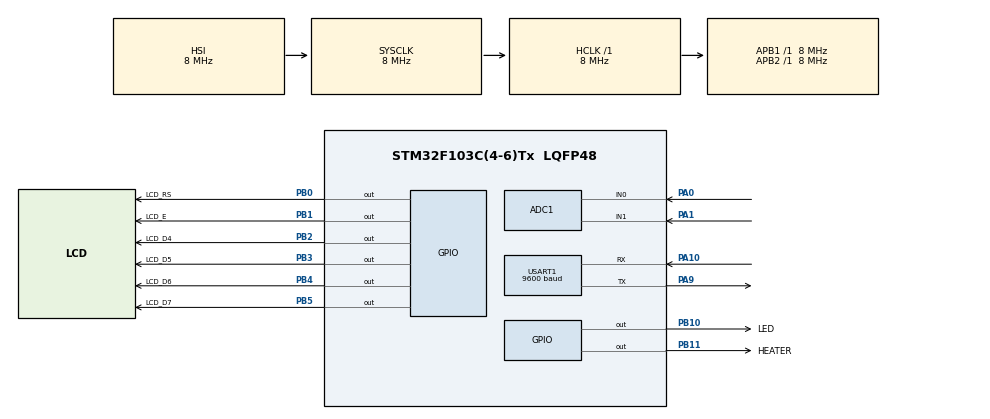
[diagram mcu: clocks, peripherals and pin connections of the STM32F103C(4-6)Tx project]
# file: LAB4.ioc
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ADC1.Channel-0\#ChannelRegularConversion=ADC_CHANNEL_1
ADC1.Channel-1\#ChannelRegularConversion=ADC_CHANNEL_0
ADC1.ContinuousConvMode=DISABLE
ADC1.NbrOfConversion=2
ADC1.NbrOfConversionFlag=1
ADC1.Rank-0\#ChannelRegularConversion=1
ADC1.Rank-1\#ChannelRegularConversion=2
ADC1.SamplingTime-0\#ChannelRegularConversion=ADC_SAMPLETIME_1CYCLE_5
ADC1.SamplingTime-1\#ChannelRegularConversion=ADC_SAMPLETIME_1CYCLE_5
ADC1.master=1
Dma.ADC1.0.Direction=DMA_PERIPH_TO_MEMORY
Dma.ADC1.0.Instance=DMA1_Channel1
Dma.ADC1.0.MemDataAlignment=DMA_MDATAALIGN_WORD
Dma.ADC1.0.MemInc=DMA_MINC_ENABLE
Dma.ADC1.0.Mode=DMA_NORMAL
Dma.ADC1.0.PeriphDataAlignment=DMA_PDATAALIGN_HALFWORD
Dma.ADC1.0.PeriphInc=DMA_PINC_DISABLE
Dma.ADC1.0.Priority=DMA_PRIORITY_LOW
Dma.Request0=ADC1
Mcu.Family=STM32F1
Mcu.Name=STM32F103C(4-6)Tx
Mcu.Package=LQFP48
NVIC.ADC1_2_IRQn=true\:1\:0\:true\:false\:true\:true\:true
NVIC.DMA1_Channel1_IRQn=true\:1\:0\:true\:false\:true\:false\:true
NVIC.PriorityGroup=NVIC_PRIORITYGROUP_4
NVIC.USART1_IRQn=true\:1\:0\:true\:false\:true\:true\:true
PA0-WKUP.Signal=ADCx_IN0
PA1.Signal=ADCx_IN1
PA10.Mode=Asynchronous
PA10.Signal=USART1_RX
PA9.Mode=Asynchronous
PA9.Signal=USART1_TX
PB0.GPIO_Label=LCD_RS
PB0.Signal=GPIO_Output
PB1.GPIO_Label=LCD_E
PB1.Signal=GPIO_Output
PB10.GPIO_Label=LED
PB10.Signal=GPIO_Output
PB11.GPIO_Label=HEATER
PB11.Signal=GPIO_Output
PB2.GPIO_Label=LCD_D4
PB2.Signal=GPIO_Output
PB3.GPIO_Label=LCD_D5
PB3.Signal=GPIO_Output
PB4.GPIO_Label=LCD_D6
PB4.Signal=GPIO_Output
PB5.GPIO_Label=LCD_D7
PB5.Signal=GPIO_Output
PD0-OSC_IN.Mode=HSE-External-Oscillator
PD0-OSC_IN.Signal=RCC_OSC_IN
PD1-OSC_OUT.Mode=HSE-External-Oscillator
PD1-OSC_OUT.Signal=RCC_OSC_OUT
ProjectManager.HeapSize=0x200
ProjectManager.StackSize=0x400
ProjectManager.TargetToolchain=MDK-ARM V5.27
RCC.AHBFreq_Value=8000000
RCC.APB1Freq_Value=8000000
RCC.APB1TimFreq_Value=8000000
RCC.APB2Freq_Value=8000000
RCC.APB2TimFreq_Value=8000000
RCC.HCLKFreq_Value=8000000
RCC.SYSCLKFreq_VALUE=8000000
RCC.USBFreq_Value=8000000
SH.ADCx_IN0.0=ADC1_IN0,IN0
SH.ADCx_IN1.0=ADC1_IN1,IN1
USART1.BaudRate=9600
USART1.VirtualMode=VM_ASYNC
VP_SYS_VS_ND.Mode=No_Debug
board=custom

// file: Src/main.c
/* USER CODE BEGIN Header */
/**
  ******************************************************************************
  * @file           : main.c
  * @brief          : Main program body
  ******************************************************************************
  * @attention
  *
  * <h2><center>&copy; Copyright (c) 2020 STMicroelectronics.
  * All rights reserved.</center></h2>
  *
  * This software component is licensed by ST under BSD 3-Clause license,
  * the "License"; You may not use this file except in compliance with the
  * License. You may obtain a copy of the License at:
  *                        opensource.org/licenses/BSD-3-Clause
  *
  ******************************************************************************
  */
/* USER CODE END Header */

#include "main.h"
#include "adc.h"
#include "dma.h"
#include "usart.h"
#include "gpio.h"

/* USER CODE BEGIN Includes */
#include "lm016.h"
#include <stdio.h>
#include <string.h>
/* USER CODE END Includes */

/* USER CODE BEGIN PV */
uint32_t adc_data[2]; //buffer for adc using DMA.
int temperature;
int resistance; //LDR Resistance.
char lcd_buffer[3];
unsigned char myRxData[20]; //buffer used for UART transmission.
char command[20]; //received command from UArt.
int index_string = 0;
void Compare_Strigns(char* command); //To Compare command received from user and known commands for system.
unsigned char* message[5][2] = {{"Manual\r","Auto\r"},{"Off\r","On\r"},{"Mode Set to Auto\r","Mode Set to Manual\r"} , {"Heater Turned Off\r","Heater Turned On\r"} , {"Lamp Turned Off\r","Lamp Turned On\r"}  } ;
int Mode = 1;  //0 for manual , 1 for auto
int status_heater = 0; // 0 for off 1 for on
int status_lamp = 0; // 0 for off 1 for on
#define LDR_Curve_Sample_size 10
int res_vs_illumination[LDR_Curve_Sample_size][2]=
{{500,900},{1000,800},{2000,700},{5000,600},{10000,500},
{20000,400},{50000,300},{100000,200},{200000,100},{1000000,0}};
float Lux=0;
int R2 = 1000;

/* USER CODE END PV */

void SystemClock_Config(void);

int main(void)
{

  /* MCU Configuration--------------------------------------------------------*/

  /* Reset of all peripherals, Initializes the Flash interface and the Systick. */
  HAL_Init();

  /* Configure the system clock */
  SystemClock_Config();

  /* Initialize all configured peripherals */
  MX_GPIO_Init();
  MX_DMA_Init();
  MX_ADC1_Init();
  MX_USART1_UART_Init();
  /* USER CODE BEGIN 2 */
	LCD_Init();
	LCD_Clear();
	LCD_PutString("T = ");
	LCD_SetCursor(1,9);
	LCD_PutString("DEG");
	LCD_SetCursor(2,1);
	LCD_PutString("I = ");
	LCD_SetCursor(2,9);
	LCD_PutString("LUX");
	HAL_UART_Receive_IT(&huart1, myRxData, 1); //start receiving one characater because commands are not the same length.
  /* USER CODE END 2 */

  /* Infinite loop */
  /* USER CODE BEGIN WHILE */
  while (1)
  {
		HAL_ADC_Start_DMA(&hadc1,adc_data,2); //Start ADC in DMA mode to convert two channels and give interupt when conversions are completed.
		HAL_Delay(100);
    /* USER CODE END WHILE */

  }
}

void SystemClock_Config(void)
{
  RCC_OscInitTypeDef RCC_OscInitStruct = {0};
  RCC_ClkInitTypeDef RCC_ClkInitStruct = {0};
  RCC_PeriphCLKInitTypeDef PeriphClkInit = {0};

  /** Initializes the CPU, AHB and APB busses clocks
  */
  RCC_OscInitStruct.OscillatorType = RCC_OSCILLATORTYPE_HSI;
  RCC_OscInitStruct.HSIState = RCC_HSI_ON;
  RCC_OscInitStruct.HSICalibrationValue = RCC_HSICALIBRATION_DEFAULT;
  RCC_OscInitStruct.PLL.PLLState = RCC_PLL_NONE;
  if (HAL_RCC_OscConfig(&RCC_OscInitStruct) != HAL_OK)
  {
    Error_Handler();
  }
  /** Initializes the CPU, AHB and APB busses clocks
  */
  RCC_ClkInitStruct.ClockType = RCC_CLOCKTYPE_HCLK|RCC_CLOCKTYPE_SYSCLK
                              |RCC_CLOCKTYPE_PCLK1|RCC_CLOCKTYPE_PCLK2;
  RCC_ClkInitStruct.SYSCLKSource = RCC_SYSCLKSOURCE_HSI;
  RCC_ClkInitStruct.AHBCLKDivider = RCC_SYSCLK_DIV1;
  RCC_ClkInitStruct.APB1CLKDivider = RCC_HCLK_DIV1;
  RCC_ClkInitStruct.APB2CLKDivider = RCC_HCLK_DIV1;

  if (HAL_RCC_ClockConfig(&RCC_ClkInitStruct, FLASH_LATENCY_0) != HAL_OK)
  {
    Error_Handler();
  }
  PeriphClkInit.PeriphClockSelection = RCC_PERIPHCLK_ADC;
  PeriphClkInit.AdcClockSelection = RCC_ADCPCLK2_DIV2;
  if (HAL_RCCEx_PeriphCLKConfig(&PeriphClkInit) != HAL_OK)
  {
    Error_Handler();
  }
}

/* USER CODE BEGIN 4 */
void HAL_ADC_ConvCpltCallback(ADC_HandleTypeDef* hadc)
{

	temperature = adc_data[0] * 3300 / 4095 / 10; //because of characteristics of LM35 sensor, for having temperature, we have to divide calculated voltage by 10.
	LCD_SetCursor(1,5);
	sprintf(lcd_buffer,"%03d",temperature);
	LCD_PutString(lcd_buffer);

	//CALCULATE LUX AND SHOW ON LCD.
	resistance = R2 / ((float) adc_data[1]/4095) - R2;
	int location = 0 ;
	for(int i=0;i<10;i++)
	{
		if(abs(res_vs_illumination[i][0]-resistance< abs(res_vs_illumination[location][0]-resistance))) //compare calculated resistance with ideal ones and find minimum error from ideal and find its Lux according to Table.
		{
			location = i;

		}
	}
	Lux=res_vs_illumination[location][1];//Select Lux according the resistor calculated.
	LCD_SetCursor(2,5);
	sprintf(lcd_buffer,"%03d",(int)Lux);
	LCD_PutString(lcd_buffer);
	//CHECK for commands
	if(Mode ==  1) //Auto Mode
	{
		if(temperature<20)
		{
			status_heater=1; //heater on.
			HAL_GPIO_WritePin(HEATER_GPIO_Port,HEATER_Pin,GPIO_PIN_SET);
		}
		if(temperature>24)
		{
			status_heater=0; //heater off.
			HAL_GPIO_WritePin(HEATER_GPIO_Port,HEATER_Pin,GPIO_PIN_RESET);
		}

		if(Lux<400)
		{
			HAL_GPIO_WritePin(LED_GPIO_Port,LED_Pin,GPIO_PIN_SET); //lamp on.
			status_lamp=1;
		}
		if(Lux>500)
		{
			HAL_GPIO_WritePin(LED_GPIO_Port,LED_Pin,GPIO_PIN_RESET); //lamp off.
			status_lamp=0;
		}

	}

}

void HAL_UART_RxCpltCallback(UART_HandleTypeDef *huart)
{
	//We will write the command in our buffer until we reach end symbole(Enter character).
	if(myRxData[0]!=13 ) //if received char is not Enter.
	{
		command[index_string]= myRxData[0]; //saving received character to command buffer.
		index_string++;
	}
	else{
		//this will help us to use string's functions
		command[index_string] = '\0';
		index_string=0;
		Compare_Strigns(command); //now we can compare received data and commands of system.
	}
	HAL_UART_Receive_IT(&huart1, myRxData, 1);

}

void Compare_Strigns(char* command)
{
	if(strcmp("AT_GetMode" , command) ==  0)
	{
		if(Mode == 0) //manual mode.
			HAL_UART_Transmit_IT(&huart1,message[0][0],7);
		else
			HAL_UART_Transmit_IT(&huart1,message[0][1],5);
	}

	else if(strcmp("AT_GetStats_Heater" , command) ==  0)
	{
		if(status_heater == 0) //off
			HAL_UART_Transmit_IT(&huart1,message[1][0],4);
		else
			HAL_UART_Transmit_IT(&huart1,message[1][1],3);
	}

	else if(strcmp("AT_GetStats_Lamp" , command) ==  0)
	{
		if(status_lamp == 0) //off
			HAL_UART_Transmit_IT(&huart1,message[1][0],4);
		else
			HAL_UART_Transmit_IT(&huart1,message[1][1],3);
	}

	else if(strcmp("AT_SetMode_Auto" , command) ==  0)
	{
		Mode = 1; //auto mode.
		HAL_UART_Transmit_IT(&huart1,message[2][0],17);
	}

	else if(strcmp("AT_SetMode_Manual" , command) ==  0)
	{
		Mode = 0; //Manual mode.

		HAL_UART_Transmit_IT(&huart1,message[2][1],19);
	}
	else if(strcmp("AT_TurnOff_Heater" , command) ==  0 && Mode == 0) //we should be at manual mode to change state of heater and lamp.
	{
		status_heater = 0;
		HAL_GPIO_WritePin(HEATER_GPIO_Port,HEATER_Pin,GPIO_PIN_RESET);
		HAL_UART_Transmit_IT(&huart1,message[3][0],18);
	}
	else if(strcmp("AT_TurnOn_Heater" , command) ==  0 && Mode == 0)
	{
		status_heater = 1;
		HAL_GPIO_WritePin(HEATER_GPIO_Port,HEATER_Pin,GPIO_PIN_SET);
		HAL_UART_Transmit_IT(&huart1,message[3][1],17);
	}

	else if(strcmp("AT_TurnOff_Lamp" , command) ==  0 && Mode == 0)
	{
		status_lamp = 0;
		HAL_GPIO_WritePin(LED_GPIO_Port,LED_Pin,GPIO_PIN_RESET);
		HAL_UART_Transmit_IT(&huart1,message[4][0],16);
	}
	else if(strcmp("AT_TurnOn_Lamp" , command) ==  0 && Mode == 0)
	{
		status_lamp = 1;
		HAL_GPIO_WritePin(LED_GPIO_Port,LED_Pin,GPIO_PIN_SET);
		HAL_UART_Transmit_IT(&huart1,message[4][1],15);
	}
	else if(strcmp("AT_GetTemperature" , command) ==  0)
	{
		char buff[10];
		sprintf(buff,"%d DEG\r",temperature);
		HAL_UART_Transmit_IT(&huart1,(uint8_t*)buff,strlen(buff));
	}
	else if (strcmp("AT_GetIllumination" , command) ==  0)
	{
		char buff[10];
		sprintf(buff,"%d LUX\r",(int)Lux);
		HAL_UART_Transmit_IT(&huart1,(uint8_t*)buff,strlen(buff));
	}
	else
	{
			HAL_UART_Transmit_IT(&huart1,"Wrong Command\r",16);
	}

}
/* USER CODE END 4 */

void Error_Handler(void)
{
}

/************************ (C) COPYRIGHT STMicroelectronics *****END OF FILE****/
